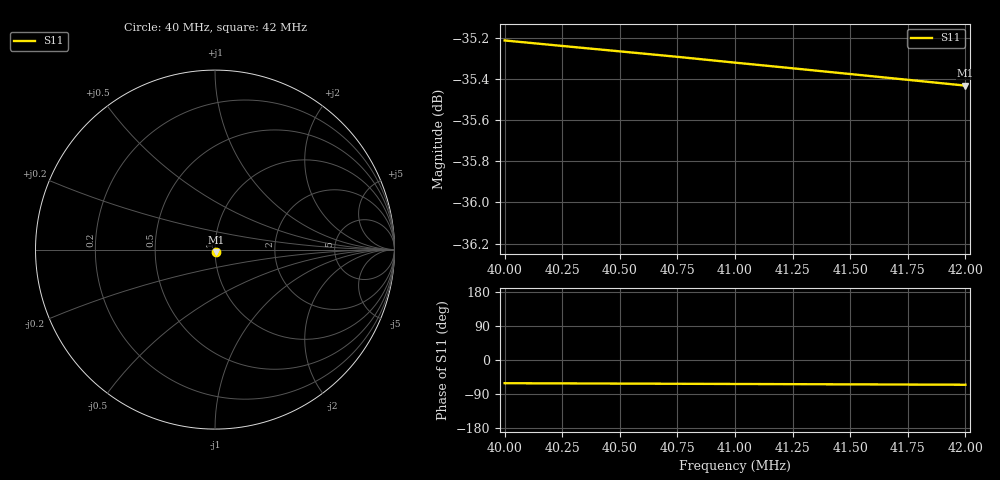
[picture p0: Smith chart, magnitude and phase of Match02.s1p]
# Hz S RI R 50
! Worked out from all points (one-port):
!   9 points, 40 MHz to 42 MHz, reference 50 ohm
!   lowest |S11| = -35.4 dB at 42 MHz (marker M1), VSWR 1.03, Z = 50.7 - j1.56 ohm
!   |S11| at or under -10 dB: start of sweep to end of sweep
4e7  0.00835 -0.0152
4.025e7  0.00819 -0.0152
4.05e7  0.00803 -0.0153
4.075e7  0.00787 -0.0153
4.1e7  0.00771 -0.0153
4.125e7  0.00755 -0.0153
4.15e7  0.00739 -0.0153
4.175e7  0.00723 -0.0154
4.2e7  0.00707 -0.0154
